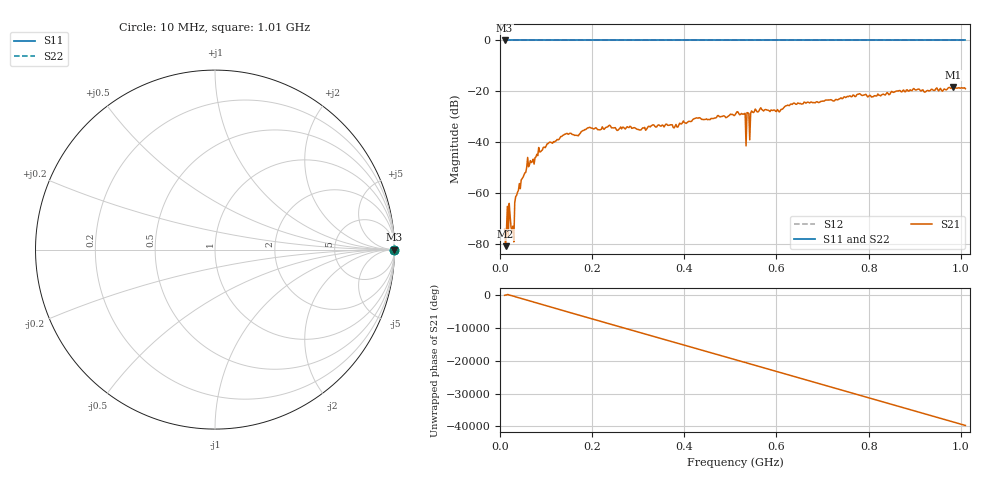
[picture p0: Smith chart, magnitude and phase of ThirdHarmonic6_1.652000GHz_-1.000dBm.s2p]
! 8/16/2025 7:47:02 PM
! C:\ANRITSUVNA\TEMP\TEMP.S2P
! CHANNEL.1
! TR.MEASUREMENT
! RAW.DATA
! RF.CORRECTION.OFF
! AVERAGING.OFF
! IF.BANDWIDTH: 5KHZ
! SWEEPTYPE:  FREQ.SWEEP(Linear)
! Reference Plane Port Info
! PORT:  PORT1  PORT2
! DISTANCE:  0  m  0  m
! TIME:  0  s  0  s
! PHASE.OFFSET:  0  deg.  0  deg.
! LOSS:  0  dB  0  dB
! REF.LOSS:  0  dB  0  dB
! REF.FREQ:  0  Hz  0  Hz
! Power Info
! POWER:  -20  dBm  -20  dBm
! EFF.POWER:  -20  dBm  -20  dBm
! SOURCE.ATTEN:  0  dB  0  dB
! TEST.ATTEN:  0  dB  0  dB
# GHZ S RI R 50.0
! FREQ.GHZ  S11RE  S11IM  S21RE  S21IM  S12RE  S12IM  S22RE  S22IM
!; PortSelection: Port_12
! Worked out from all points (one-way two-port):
!   501 points, 10 MHz to 1.01 GHz, reference 50 ohm
!   highest |S21| = -18.25 dB at 984 MHz (marker M1); lowest = -80.8 dB at 12 MHz (marker M2)
!   lowest |S11| = 0.0 dB at 10 MHz (marker M3)
!   |S11| at or under -10 dB: nowhere
!   |S22| runs from 0.0 to 0.0 dB; largest |S21 - S12| = 1.1
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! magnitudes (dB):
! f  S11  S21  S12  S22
! 10 MHz  0.0  -74.2  0.0  0.0
! 12 MHz  0.0  -80.8  0.0  0.0
! 14 MHz  0.0  -74.8  0.0  0.0
! 20 MHz  0.0  -64.0  0.0  0.0
! 24 MHz  0.0  -73.3  0.0  0.0
! 26 MHz  0.0  -75.3  0.0  0.0
! 38 MHz  0.0  -59.6  0.0  0.0
! 62 MHz  0.0  -49.6  0.0  0.0
! 106 MHz  0.0  -40.2  0.0  0.0
! 178 MHz  0.0  -35.6  0.0  0.0
! 344 MHz  0.0  -33.2  0.0  0.0
! 510 MHz  0.0  -29.3  0.0  0.0
! 528 MHz  0.0  -29.0  0.0  0.0
! 530 MHz  0.0  -28.7  0.0  0.0
! 536 MHz  0.0  -28.3  0.0  0.0
! 538 MHz  0.0  -28.4  0.0  0.0
! 540 MHz  0.0  -28.7  0.0  0.0
! 550 MHz  0.0  -28.3  0.0  0.0
! 678 MHz  0.0  -24.4  0.0  0.0
! 844 MHz  0.0  -21.3  0.0  0.0
! 984 MHz  0.0  -18.2  0.0  0.0
! 1.01 GHz  0.0  -18.9  0.0  0.0
